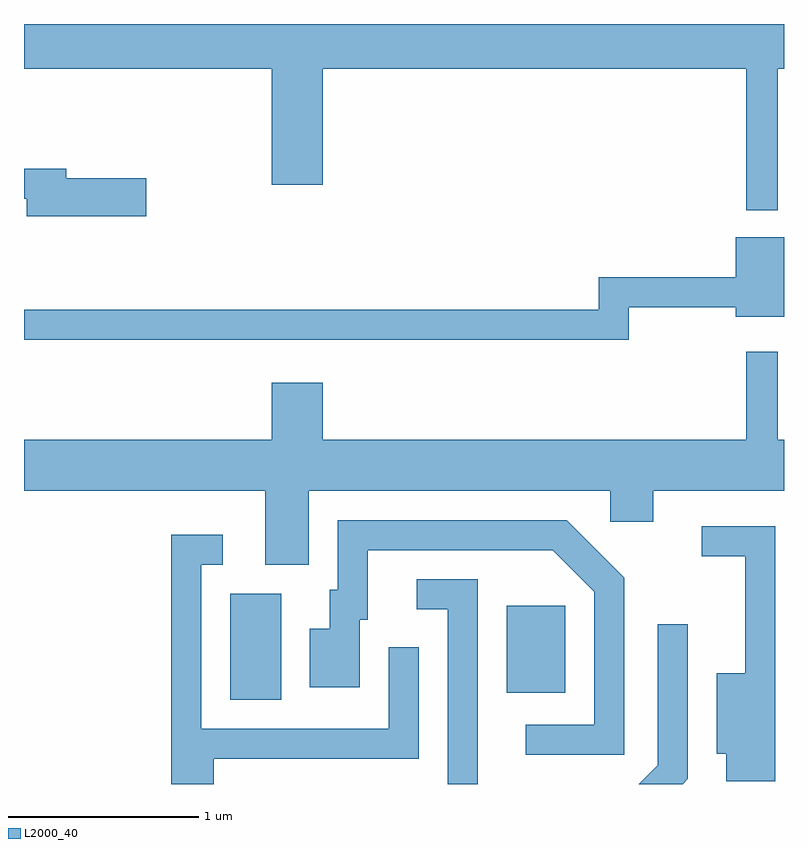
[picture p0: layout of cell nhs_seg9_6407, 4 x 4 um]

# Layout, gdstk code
import gdstk
lib = gdstk.Library(unit=1e-6, precision=1e-09)
def R(c, l, rs):  # rectangles x0, y0, x1, y1
    for r in rs: c.add(gdstk.rectangle(r[:2], r[2:], *l))
def P(c, l, *ps):  # polygons
    for p in ps: c.add(gdstk.Polygon(p, *l))
L2000_40 = (2000, 40)

nhs_seg9_6407 = lib.new_cell('nhs_seg9_6407')
R(nhs_seg9_6407, L2000_40, [(374.696,2052.876,374.964,2053.434), (376.151,2052.911,376.459,2053.369)])
P(nhs_seg9_6407, L2000_40, [(377.579,2056.196),(377.611,2056.196),(377.611,2056.432),(373.611,2056.432),(373.611,2056.196),(374.916,2056.196),(374.916,2055.586),(375.184,2055.586),(375.184,2056.196),(377.411,2056.196),(377.411,2055.452),(377.579,2055.452)],
  [(374.254,2055.619),(373.834,2055.619),(373.834,2055.669),(373.611,2055.669),(373.611,2055.511),(373.626,2055.511),(373.626,2055.421),(374.254,2055.421)],
  [(376.794,2054.941),(377.356,2054.941),(377.356,2054.891),(377.611,2054.891),(377.611,2055.309),(377.356,2055.309),(377.356,2055.099),(376.636,2055.099),(376.636,2054.929),(373.611,2054.929),(373.611,2054.771),(376.794,2054.771)],
  [(375.109,2053.976),(376.696,2053.976),(376.696,2053.811),(376.924,2053.811),(376.924,2053.976),(377.611,2053.976),(377.611,2054.244),(377.579,2054.244),(377.579,2054.708),(377.411,2054.708),(377.411,2054.244),(375.184,2054.244),(375.184,2054.544),(374.916,2054.544),(374.916,2054.244),(373.611,2054.244),(373.611,2053.976),(374.881,2053.976),(374.881,2053.586),(375.109,2053.586)],
  [(376.769,2053.517),(376.467,2053.819),(375.261,2053.819),(375.261,2053.454),(375.221,2053.454),(375.221,2053.249),(375.116,2053.249),(375.116,2052.941),(375.379,2052.941),(375.379,2053.296),(375.419,2053.296),(375.419,2053.661),(376.394,2053.661),(376.611,2053.443),(376.611,2052.744),(376.253,2052.744),(376.253,2052.586),(376.769,2052.586)],
  [(377.564,2053.789),(377.178,2053.789),(377.178,2053.631),(377.406,2053.631),(377.406,2053.014),(377.256,2053.014),(377.256,2052.591),(377.306,2052.591),(377.306,2052.446),(377.564,2052.446)],
  [(374.609,2052.566),(375.689,2052.566),(375.689,2053.153),(375.531,2053.153),(375.531,2052.724),(374.544,2052.724),(374.544,2053.586),(374.658,2053.586),(374.658,2053.744),(374.386,2053.744),(374.386,2052.432),(374.609,2052.432)],
  [(375.999,2053.509),(375.678,2053.509),(375.678,2053.351),(375.841,2053.351),(375.841,2052.432),(375.999,2052.432)],
  [(377.104,2052.459),(377.104,2053.273),(376.946,2053.273),(376.946,2052.532),(376.847,2052.432),(377.077,2052.432)])

lib.write_gds('nhs_seg9_6407.gds')
